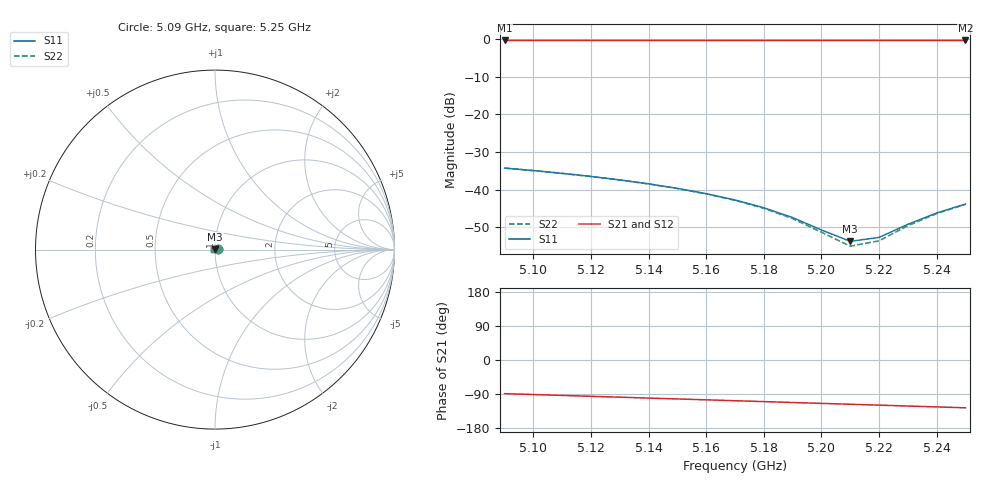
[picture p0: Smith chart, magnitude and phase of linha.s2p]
! Touchstone file exported from HFSS 2024.2.0
!  File:  D:/dev/EMBRAER/P1H/R03_Estudo/ZYF300CA-P/cupom_120/Linha_ZYF300CA_P_120.aedt
!  Generated:  10:48:04 PM Nov  6, 2026
!  Design:  Linha
!  Project:  Linha_ZYF300CA_P_120
!  Setup:  Perda
!  Solution:  Banda
# GHz S RI R 50.000000
! Terminal data exported
! Port[1] = E
! Port[2] = S
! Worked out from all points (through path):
!   17 points, 5.09 GHz to 5.25 GHz, reference 50 ohm
!   highest |S21| = -0.35 dB at 5.09 GHz (marker M1); lowest = -0.4 dB at 5.25 GHz (marker M2)
!   group delay of S21, straight-line fit = 648 ps
!   lowest |S11| = -53.8 dB at 5.21 GHz (marker M3), VSWR 1.00, Z = 50.1 + j0.168 ohm
!   |S11| at or under -10 dB: start of sweep to end of sweep
!   |S22| runs from -55.0 to -34.3 dB; largest |S21 - S12| = 1e-15
5.09  0.019 0.00369  0.02 -0.9601  0.02 -0.9601  0.019 0.00368
! Gamma 0 0 0 0
! Port Impedance 50 0 50 0
5.1  0.0177 0.00287  -0.019 -0.9601  -0.019 -0.9601  0.0177 0.00283
5.11  0.0163 0.00216  -0.0581 -0.9585  -0.0581 -0.9585  0.0163 0.0021
5.12  0.0149 0.00156  -0.097 -0.9553  -0.097 -0.9553  0.0149 0.00148
5.13  0.0134 0.00107  -0.1358 -0.9505  -0.1358 -0.9505  0.0134 0.000971
5.14  0.0119 0.000712  -0.1744 -0.9441  -0.1744 -0.9441  0.0119 0.000587
5.15  0.0104 0.000473  -0.2126 -0.9362  -0.2126 -0.9362  0.0103 0.000327
5.16  0.00883 0.000359  -0.2506 -0.9267  -0.2506 -0.9267  0.00877 0.000194
5.17  0.00727 0.000371  -0.2881 -0.9157  -0.2881 -0.9157  0.00721 0.000187
5.18  0.00572 0.00051  -0.3251 -0.9031  -0.3251 -0.9031  0.00564 0.000308
5.19  0.00418 0.000774  -0.3616 -0.8891  -0.3616 -0.8891  0.00408 0.000556
5.2  0.00267 0.00116  -0.3974 -0.8735  -0.3974 -0.8735  0.00255 0.00093
5.21  0.00119 0.00167  -0.4326 -0.8566  -0.4326 -0.8566  0.00105 0.00143
5.22  -0.000247 0.0023  -0.4671 -0.8382  -0.4671 -0.8382  -0.000406 0.00204
5.23  -0.00163 0.00305  -0.5009 -0.8184  -0.5009 -0.8184  -0.00181 0.00278
5.24  -0.00295 0.0039  -0.5337 -0.7972  -0.5337 -0.7972  -0.00315 0.00363
5.25  -0.0042 0.00486  -0.5657 -0.7748  -0.5657 -0.7748  -0.00443 0.00458
